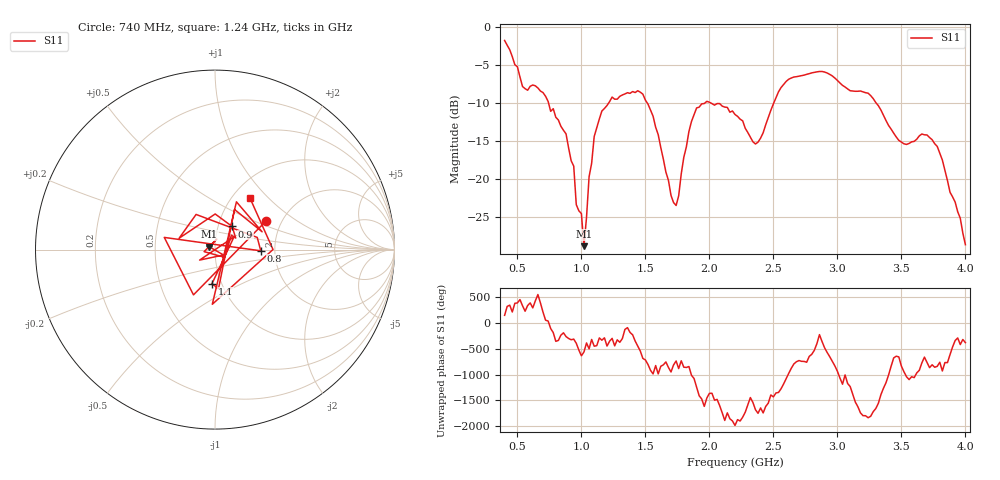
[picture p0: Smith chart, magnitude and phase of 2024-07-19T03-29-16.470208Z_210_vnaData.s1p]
!Created with skrf (http://scikit-rf.org).
# Hz S RI R 50.0
!freq ReS11 ImS11
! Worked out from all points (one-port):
!   181 points, 400 MHz to 4 GHz, reference 50 ohm
!   lowest |S11| = -28.8 dB at 1.02 GHz (marker M1), VSWR 1.08, Z = 46.8 + j1.51 ohm
!   |S11| at or under -10 dB: 743.3 MHz to 1.212 GHz (469.1 MHz wide, 48 % of centre); 2.013 GHz to 2.502 GHz (489.5 MHz wide, 21.7 % of centre); 3.303 GHz to end of sweep (the widest 3 of 4)
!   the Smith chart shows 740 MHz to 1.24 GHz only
!   S11 on the Smith chart (normalised r, x): 740 MHz: 1.66, +0.59; 800 MHz: 1.68, -0.02; 900 MHz: 1.17, +0.31; 1.1 GHz: 0.90, -0.36; 1.24 GHz: 1.21, +0.78
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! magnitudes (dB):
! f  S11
! 400 MHz  -1.8
! 540 MHz  -7.8
! 740 MHz  -9.8
! 800 MHz  -11.9
! 860 MHz  -13.6
! 900 MHz  -15.9
! 940 MHz  -18.3
! 960 MHz  -23.4
! 1 GHz  -24.5
! 1.02 GHz  -28.8
! 1.06 GHz  -19.7
! 1.1 GHz  -14.4
! 1.24 GHz  -9.2
! 1.3 GHz  -9.1
! 1.48 GHz  -8.8
! 1.56 GHz  -11.7
! 1.7 GHz  -22.1
! 1.76 GHz  -22.2
! 1.84 GHz  -13.7
! 1.9 GHz  -10.6
! 2.2 GHz  -11.5
! 2.36 GHz  -15.4
! 2.66 GHz  -6.6
! 3.1 GHz  -8.4
! 3.24 GHz  -8.7
! 3.56 GHz  -15.3
! 3.78 GHz  -15.7
! 4 GHz  -28.6
